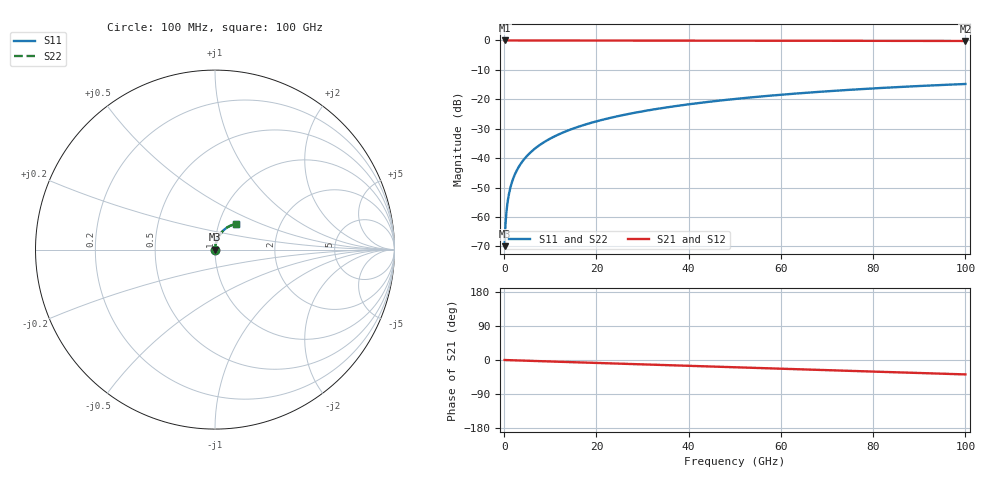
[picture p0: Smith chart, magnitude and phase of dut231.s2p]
! Touchstone file exported from HFSS 2026.1.0
!  File:  C:/ffzhzh/LocalFiles/Ansys_Project_Files/temp_train_TSV_231_1783508003_55944.aedt
!  Generated:  06:54:47 PM Jul  8, 2026
!  Design:  TSV
!  Project:  temp_train_TSV_231_1783508003_55944
! Variables:
!  h_bsmrdl = 2um
!  h_ox = 20um
!  h_rdl = 5um
!  h_sub = 71.19um
!  h_tmrdl = 5um
!  h_tsv = 71.19um
!  h_via = 3um
!  l_bsmrdl = 300um
!  l_sub = 414.18um
!  l_tmrdl = 200um
!  m_sub = 200um
!  pitch = 43.56um
!  r_tsv = 7.09um
!  s_tmrdl = 10um
!  w_bsmrdl = 18um
!  w_sub = 500um
!  w_tmrdl = 12um
!  x_tsv_center1 = 206um
!  x_tsv_center2 = 524um
!  x_tsv_center3 = 736um
!  x_tsv_center4 = 1054um
!  x_tsv_center5 = 1266um
!  x_tsv_center6 = 1584um
# GHz S MA R 50.000000
! Terminal data exported
! Port[1] = TSV1_1_T1
! Port[2] = TSV1_1_T2
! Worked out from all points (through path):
!   1000 points, 100 MHz to 100 GHz, reference 50 ohm
!   highest |S21| = 0.00 dB at 100 MHz (marker M1); lowest = -0.2 dB at 100 GHz (marker M2)
!   group delay of S21, straight-line fit = 1.06 ps
!   lowest |S11| = -69.9 dB at 100 MHz (marker M3), VSWR 1.00, Z = 50 + j0.0252 ohm
!   |S11| at or under -10 dB: start of sweep to end of sweep
!   |S22| runs from -69.9 to -14.8 dB; largest |S21 - S12| = 3.5e-15
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0.1  0.0003201 51.9  0.9998 -0.0  0.9998 -0.0  0.0003201 51.9
! Gamma 0 0 0 0
! Port Impedance 50 0 50 0
0.4  0.0009997 75.9  0.9998 -0.2  0.9998 -0.2  0.0009997 75.9
0.7  0.001683 80.2  0.9997 -0.3  0.9997 -0.3  0.001683 80.2
0.8  0.001911 80.9  0.9997 -0.3  0.9997 -0.3  0.001911 80.9
1.1  0.00259 82.3  0.9997 -0.4  0.9997 -0.4  0.00259 82.3
1.4  0.003264 83.0  0.9996 -0.6  0.9996 -0.6  0.003264 83.0
1.9  0.004373 83.6  0.9996 -0.8  0.9996 -0.8  0.004373 83.6
2.4  0.005466 83.9  0.9995 -1.0  0.9995 -1.0  0.005466 83.9
3  0.00676 84.0  0.9994 -1.2  0.9994 -1.2  0.00676 84.0
3.8  0.008469 84.2  0.9993 -1.5  0.9993 -1.5  0.008469 84.2
4.8  0.01059 84.2  0.9992 -1.9  0.9992 -1.9  0.01059 84.2
6  0.01313 84.2  0.9991 -2.3  0.9991 -2.3  0.01313 84.1
8.8  0.01902 83.6  0.9989 -3.4  0.9989 -3.4  0.01902 83.6
12.4  0.02654 82.6  0.9985 -4.8  0.9985 -4.8  0.02654 82.6
16.8  0.03566 81.3  0.998 -6.5  0.998 -6.5  0.03566 81.3
24.2  0.05081 78.8  0.9971 -9.4  0.9971 -9.4  0.05081 78.8
33.4  0.06928 75.5  0.9957 -12.9  0.9957 -12.9  0.06928 75.5
41.2  0.08456 72.7  0.9943 -15.9  0.9943 -15.9  0.08456 72.7
50.1  0.1015 69.5  0.9925 -19.3  0.9925 -19.3  0.1015 69.4
66.7  0.1313 63.3  0.9887 -25.6  0.9887 -25.6  0.1313 63.3
83.4  0.1584 57.2  0.9844 -31.8  0.9844 -31.8  0.1584 57.1
100  0.1821 51.1  0.98 -38.0  0.98 -38.0  0.1821 51.0
